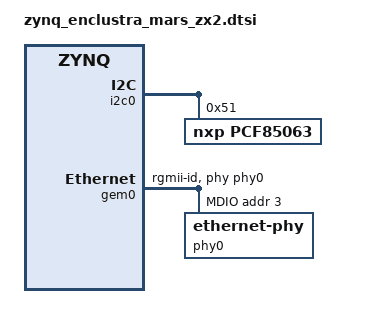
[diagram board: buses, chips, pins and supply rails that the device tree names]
&i2c0 {
	pcf85063: pcf85063@51 {
		compatible = "nxp,pcf85063";
		reg = <0x51>;
	};
};

&gem0 {
	phy-handle = <&phy0>;
	phy-mode = "rgmii-id";
	/delete-property/ local-mac-address;

	mdio {
		phy0: ethernet-phy@3 {
			reg = <3>;

			txc-skew-ps = <1800>;
			txen-skew-ps = <420>;

			txd0-skew-ps = <420>;
			txd1-skew-ps = <420>;
			txd2-skew-ps = <420>;
			txd3-skew-ps = <420>;

			rxc-skew-ps = <900>;
			rxdv-skew-ps = <420>;

			rxd0-skew-ps = <420>;
			rxd1-skew-ps = <420>;
			rxd2-skew-ps = <420>;
			rxd3-skew-ps = <420>;
		};
	};
};
